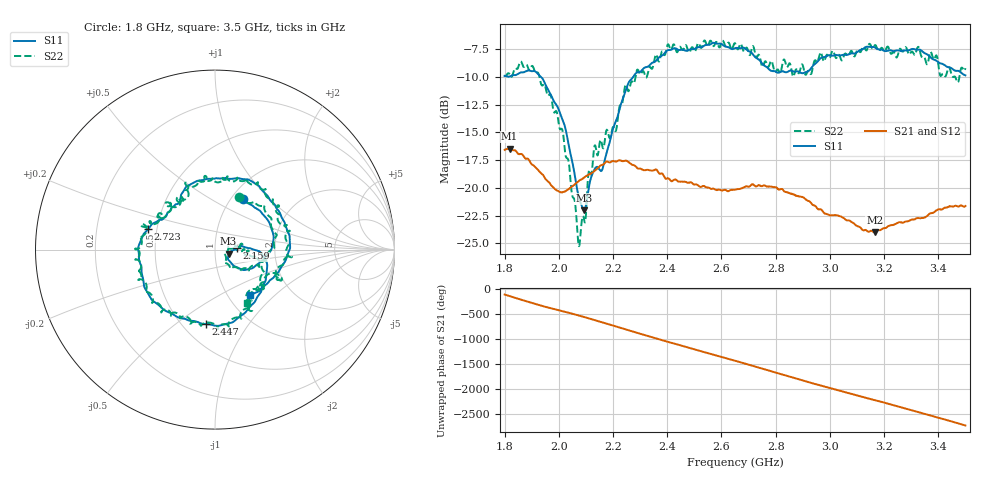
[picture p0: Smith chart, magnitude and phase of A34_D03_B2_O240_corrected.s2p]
! Created with skrf 1.9.0 (http://scikit-rf.org).
# Hz S RI R 50.0
!freq ReS11 ImS11 ReS21 ImS21 ReS12 ImS12 ReS22 ImS22
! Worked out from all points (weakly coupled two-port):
!   1601 points, 1.8 GHz to 3.5 GHz, reference 50 ohm
!   highest |S21| = -16.46 dB at 1.818 GHz (marker M1); lowest = -24.0 dB at 3.165 GHz (marker M2)
!   lowest |S11| = -22.0 dB at 2.093 GHz (marker M3), VSWR 1.17, Z = 58.1 - j2.72 ohm
!   |S11| at or under -10 dB: 1.934 GHz to 2.275 GHz (340.7 MHz wide, 16.2 % of centre)
!   |S22| runs from -25.2 to -6.7 dB; largest |S21 - S12| = 0.0026
!   S11 on the Smith chart (normalised r, x): 1.8 GHz: 1.13, +0.70; 2.159 GHz: 1.27, +0.02; 2.447 GHz: 0.65, -0.65; 2.723 GHz: 0.45, +0.12; 3.5 GHz: 1.26, -0.71
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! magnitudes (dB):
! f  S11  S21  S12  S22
! 1.8 GHz  -9.9  -16.6  -16.6  -9.9
! 1.818 GHz  -10.0  -16.5  -16.5  -9.7
! 1.903 GHz  -9.5  -17.9  -17.9  -9.0
! 1.968 GHz  -11.5  -19.6  -19.7  -11.6
! 2.015 GHz  -13.9  -20.4  -20.4  -15.0
! 2.072 GHz  -20.6  -19.4  -19.4  -25.0
! 2.084 GHz  -21.6  -19.2  -19.2  -23.1
! 2.093 GHz  -22.0  -19.1  -19.1  -22.8
! 2.13 GHz  -18.4  -18.5  -18.5  -16.4
! 2.159 GHz  -18.4  -17.9  -17.9  -16.1
! 2.258 GHz  -10.5  -17.7  -17.7  -11.3
! 2.367 GHz  -8.3  -18.6  -18.5  -8.6
! 2.447 GHz  -7.6  -19.4  -19.4  -7.3
! 2.65 GHz  -7.4  -20.2  -20.1  -7.0
! 2.723 GHz  -8.2  -19.8  -19.8  -7.8
! 2.802 GHz  -9.6  -20.0  -20.0  -9.5
! 2.934 GHz  -9.1  -21.5  -21.4  -9.6
! 3.165 GHz  -7.3  -24.0  -24.0  -7.2
! 3.217 GHz  -7.6  -23.4  -23.4  -7.4
! 3.376 GHz  -8.3  -22.3  -22.3  -7.9
! 3.468 GHz  -9.5  -21.6  -21.6  -10.4
! 3.5 GHz  -9.9  -21.6  -21.6  -9.2
